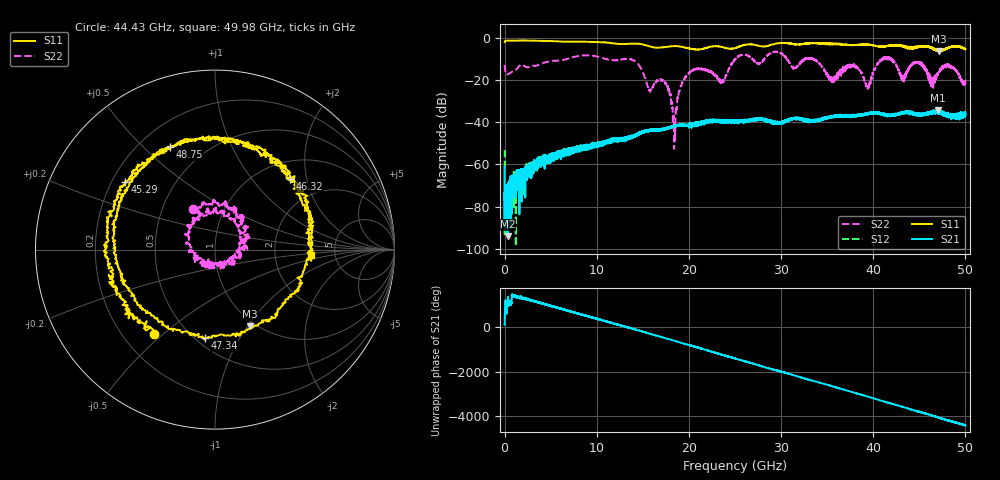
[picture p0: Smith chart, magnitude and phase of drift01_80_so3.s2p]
!Created with skrf (http://scikit-rf.org).
# Hz S RI R 50.0
!freq ReS11 ImS11 ReS21 ImS21 ReS12 ImS12 ReS22 ImS22
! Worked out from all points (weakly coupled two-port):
!   10001 points, 300 kHz to 50 GHz, reference 50 ohm
!   highest |S21| = -34.33 dB at 47.01 GHz (marker M1); lowest = -94.0 dB at 320.3 MHz (marker M2)
!   lowest |S11| = -6.6 dB at 47.14 GHz (marker M3), VSWR 2.77, Z = 46.9 - j51.4 ohm
!   |S11| at or under -10 dB: nowhere
!   |S22| runs from -52.6 to -6.6 dB; largest |S21 - S12| = 0.0042
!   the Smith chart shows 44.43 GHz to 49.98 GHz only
!   S11 on the Smith chart (normalised r, x): 44.43 GHz: 0.33, -0.47; 45.29 GHz: 0.25, +0.31; 46.32 GHz: 1.37, +1.59; 47.34 GHz: 0.55, -0.73; 48.75 GHz: 0.33, +0.61; 49.98 GHz: 3.28, -0.25
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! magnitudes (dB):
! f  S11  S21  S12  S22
! 300 kHz  -2.1  -61.2  -53.3  -12.9
! 320.3 MHz  -1.4  -94.0  -75.1  -17.4
! 8.335 GHz  -1.9  -51.5  -51.2  -8.5
! 16.67 GHz  -4.8  -43.3  -43.6  -20.0
! 17.65 GHz  -4.4  -43.1  -42.7  -23.1
! 18.45 GHz  -4.0  -42.0  -42.0  -42.2
! 19.97 GHz  -5.1  -41.6  -41.5  -16.9
! 23.63 GHz  -4.5  -39.3  -39.5  -20.7
! 25 GHz  -5.0  -39.8  -39.9  -10.1
! 33.34 GHz  -2.5  -39.2  -39.5  -9.9
! 39.43 GHz  -3.3  -36.2  -36.1  -23.5
! 41.67 GHz  -3.8  -36.4  -36.7  -10.1
! 43.23 GHz  -3.9  -35.6  -35.8  -18.6
! 44.43 GHz  -4.7  -35.8  -35.9  -11.8
! 45.29 GHz  -4.1  -36.3  -36.6  -12.3
! 46.32 GHz  -4.8  -35.4  -35.3  -22.0
! 47.01 GHz  -6.1  -34.3  -35.0  -17.2
! 47.14 GHz  -6.6  -35.4  -35.1  -16.0
! 47.34 GHz  -6.1  -35.6  -35.1  -14.8
! 48.75 GHz  -4.1  -37.1  -36.8  -14.5
! 49.98 GHz  -5.4  -36.8  -36.3  -21.0
! 50 GHz  -5.4  -35.5  -36.5  -21.7
